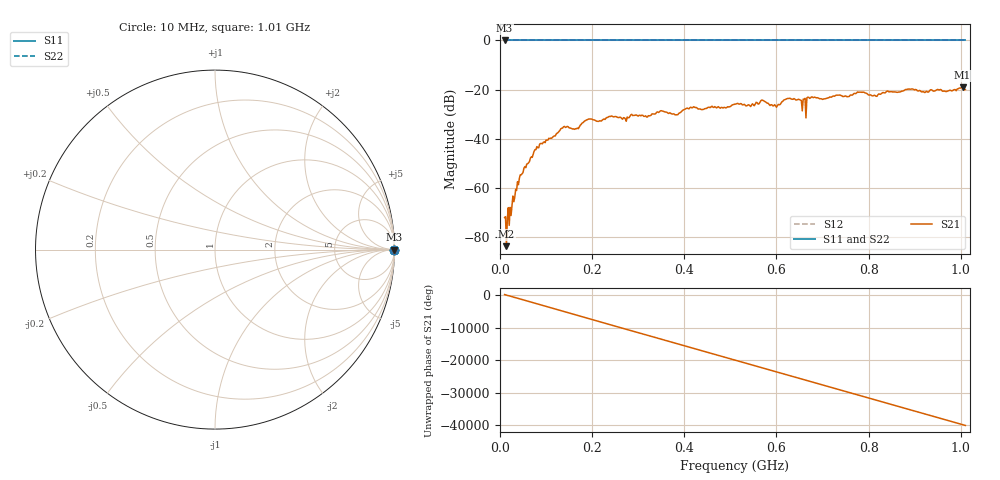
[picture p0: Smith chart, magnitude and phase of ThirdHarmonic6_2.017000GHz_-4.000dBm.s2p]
! 8/17/2025 12:12:46 AM
! C:\ANRITSUVNA\TEMP\TEMP.S2P
! CHANNEL.1
! TR.MEASUREMENT
! RAW.DATA
! RF.CORRECTION.OFF
! AVERAGING.OFF
! IF.BANDWIDTH: 5KHZ
! SWEEPTYPE:  FREQ.SWEEP(Linear)
! Reference Plane Port Info
! PORT:  PORT1  PORT2
! DISTANCE:  0  m  0  m
! TIME:  0  s  0  s
! PHASE.OFFSET:  0  deg.  0  deg.
! LOSS:  0  dB  0  dB
! REF.LOSS:  0  dB  0  dB
! REF.FREQ:  0  Hz  0  Hz
! Power Info
! POWER:  -20  dBm  -20  dBm
! EFF.POWER:  -20  dBm  -20  dBm
! SOURCE.ATTEN:  0  dB  0  dB
! TEST.ATTEN:  0  dB  0  dB
# GHZ S RI R 50.0
! FREQ.GHZ  S11RE  S11IM  S21RE  S21IM  S12RE  S12IM  S22RE  S22IM
!; PortSelection: Port_12
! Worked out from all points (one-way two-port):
!   501 points, 10 MHz to 1.01 GHz, reference 50 ohm
!   highest |S21| = -19.15 dB at 1.004 GHz (marker M1); lowest = -83.8 dB at 14 MHz (marker M2)
!   lowest |S11| = 0.0 dB at 10 MHz (marker M3)
!   |S11| at or under -10 dB: nowhere
!   |S22| runs from 0.0 to 0.0 dB; largest |S21 - S12| = 1.1
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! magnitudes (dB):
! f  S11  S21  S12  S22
! 10 MHz  0.0  -72.1  0.0  0.0
! 14 MHz  0.0  -83.8  0.0  0.0
! 18 MHz  0.0  -68.1  0.0  0.0
! 42 MHz  0.0  -56.1  0.0  0.0
! 78 MHz  0.0  -44.4  0.0  0.0
! 136 MHz  0.0  -35.6  0.0  0.0
! 166 MHz  0.0  -35.9  0.0  0.0
! 178 MHz  0.0  -33.6  0.0  0.0
! 344 MHz  0.0  -29.3  0.0  0.0
! 382 MHz  0.0  -30.2  0.0  0.0
! 416 MHz  0.0  -27.4  0.0  0.0
! 510 MHz  0.0  -25.9  0.0  0.0
! 548 MHz  0.0  -25.8  0.0  0.0
! 570 MHz  0.0  -24.4  0.0  0.0
! 598 MHz  0.0  -26.6  0.0  0.0
! 626 MHz  0.0  -23.6  0.0  0.0
! 650 MHz  0.0  -24.1  0.0  0.0
! 660 MHz  0.0  -24.0  0.0  0.0
! 678 MHz  0.0  -23.0  0.0  0.0
! 844 MHz  0.0  -20.9  0.0  0.0
! 1.004 GHz  0.0  -19.1  0.0  0.0
! 1.01 GHz  0.0  -20.0  0.0  0.0
